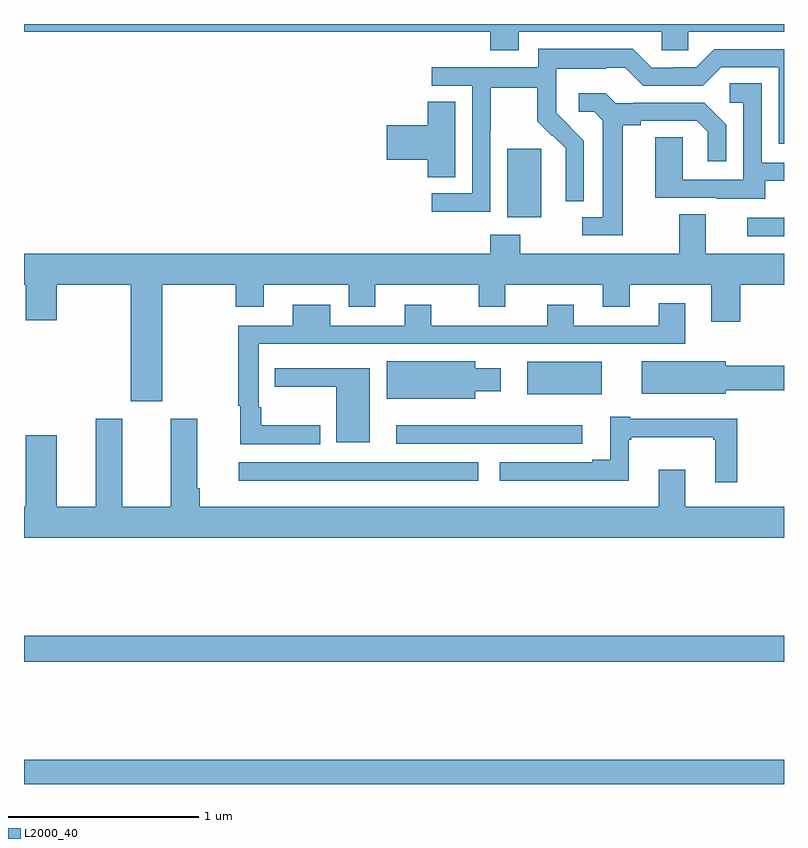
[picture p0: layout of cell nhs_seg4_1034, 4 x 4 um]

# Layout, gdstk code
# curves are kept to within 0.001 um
import gdstk
lib = gdstk.Library(unit=1e-6, precision=1e-09)
def R(c, l, rs):  # rectangles x0, y0, x1, y1
    for r in rs: c.add(gdstk.rectangle(r[:2], r[2:], *l))
def P(c, l, *ps):  # polygons
    for p in ps: c.add(gdstk.Polygon(p, *l))
L2000_40 = (2000, 40)

nhs_seg4_1034 = lib.new_cell('nhs_seg4_1034')
R(nhs_seg4_1034, L2000_40, [(165,752.9,169,753.028), (165,753.544,169,753.68), (166.131,754.496,167.392,754.593), (166.959,754.692,167.938,754.789), (167.648,754.952,168.04,755.122), (168.807,755.784,169,755.88), (167.543,755.882,167.722,756.243)])
P(nhs_seg4_1034, L2000_40, [(167.605,756.86),(168.357,756.86),(168.357,756.762),(168.495,756.762),(168.495,756.86),(169,756.86),(169,756.9),(165,756.9),(165,756.86),(167.453,756.86),(167.453,756.761),(167.605,756.761)],
  [(167.454,756.34),(167.457,756.34),(167.457,756.564),(167.701,756.564),(167.701,756.389),(167.778,756.312),(167.781,756.315),(167.852,756.245),(167.852,756.122),(167.85,756.122),(167.85,755.968),(167.946,755.968),(167.946,756.286),(167.8,756.434),(167.8,756.531),(167.802,756.531),(167.802,756.665),(168.065,756.665),(168.065,756.669),(168.165,756.669),(168.258,756.576),(168.573,756.576),(168.669,756.672),(168.972,756.672),(168.972,756.27),(169,756.27),(169,756.768),(168.633,756.768),(168.537,756.672),(168.419,756.672),(168.419,756.669),(168.303,756.669),(168.203,756.769),(167.706,756.769),(167.706,756.672),(167.145,756.672),(167.145,756.576),(167.358,756.576),(167.358,756.009),(167.145,756.009),(167.145,755.911),(167.454,755.911)],
  [(168.901,756.075),(169,756.075),(169,756.171),(168.882,756.171),(168.882,756.587),(168.714,756.587),(168.714,756.486),(168.786,756.486),(168.786,756.081),(168.468,756.081),(168.468,756.305),(168.323,756.305),(168.323,755.985),(168.647,755.985),(168.647,755.981),(168.901,755.981)],
  [(168.151,756.368),(168.247,756.368),(168.247,756.39),(168.542,756.39),(168.599,756.333),(168.599,756.177),(168.696,756.177),(168.696,756.37),(168.58,756.486),(168.208,756.486),(168.208,756.483),(168.114,756.483),(168.062,756.535),(167.919,756.535),(167.919,756.438),(168,756.438),(168.047,756.391),(168.047,755.883),(167.937,755.883),(167.937,755.787),(168.151,755.787)],
  [(167.269,756.491),(167.126,756.491),(167.126,756.368),(166.908,756.368),(166.908,756.185),(167.126,756.185),(167.126,756.094),(167.269,756.094)],
  [(165.727,755.528),(166.114,755.528),(166.114,755.411),(166.261,755.411),(166.261,755.528),(166.709,755.528),(166.709,755.411),(166.849,755.411),(166.849,755.528),(167.393,755.528),(167.393,755.411),(167.533,755.411),(167.533,755.528),(168.047,755.528),(168.047,755.411),(168.187,755.411),(168.187,755.528),(168.617,755.528),(168.617,755.334),(168.77,755.334),(168.77,755.528),(169,755.528),(169,755.692),(168.589,755.692),(168.589,755.9),(168.449,755.9),(168.449,755.692),(167.613,755.692),(167.613,755.791),(167.453,755.791),(167.453,755.692),(165,755.692),(165,755.528),(165.008,755.528),(165.008,755.34),(165.172,755.34),(165.172,755.528),(165.563,755.528),(165.563,754.914),(165.727,754.914)],
  [(166.558,754.787),(166.249,754.787),(166.249,754.882),(166.236,754.882),(166.236,755.217),(168.481,755.217),(168.481,755.431),(168.341,755.431),(168.341,755.313),(167.893,755.313),(167.893,755.422),(167.753,755.422),(167.753,755.313),(167.143,755.313),(167.143,755.422),(167.003,755.422),(167.003,755.313),(166.612,755.313),(166.612,755.422),(166.415,755.422),(166.415,755.313),(166.128,755.313),(166.128,754.892),(166.138,754.892),(166.138,754.689),(166.558,754.689)],
  [(168.694,754.972),(169,754.972),(169,755.101),(168.694,755.101),(168.694,755.125),(168.251,755.125),(168.251,754.955),(168.694,754.955)],
  [(167.374,754.967),(167.509,754.967),(167.509,755.089),(167.374,755.089),(167.374,755.125),(166.91,755.125),(166.91,754.928),(167.374,754.928)],
  [(166.819,755.088),(166.429,755.088),(166.429,755.087),(166.321,755.087),(166.321,754.991),(166.643,754.991),(166.643,754.7),(166.819,754.7)],
  [(168.755,754.822),(168.19,754.822),(168.19,754.834),(168.086,754.834),(168.086,754.606),(167.99,754.606),(167.99,754.593),(167.505,754.593),(167.505,754.496),(168.184,754.496),(168.184,754.713),(168.196,754.713),(168.196,754.724),(168.627,754.724),(168.627,754.713),(168.638,754.713),(168.638,754.488),(168.755,754.488)],
  [(169,754.36),(168.481,754.36),(168.481,754.555),(168.341,754.555),(168.341,754.36),(165.926,754.36),(165.926,754.456),(165.913,754.456),(165.913,754.822),(165.773,754.822),(165.773,754.36),(165.517,754.36),(165.517,754.822),(165.377,754.822),(165.377,754.36),(165.172,754.36),(165.172,754.735),(165.008,754.735),(165.008,754.36),(165,754.36),(165,754.196),(169,754.196)])

lib.write_gds('nhs_seg4_1034.gds')
